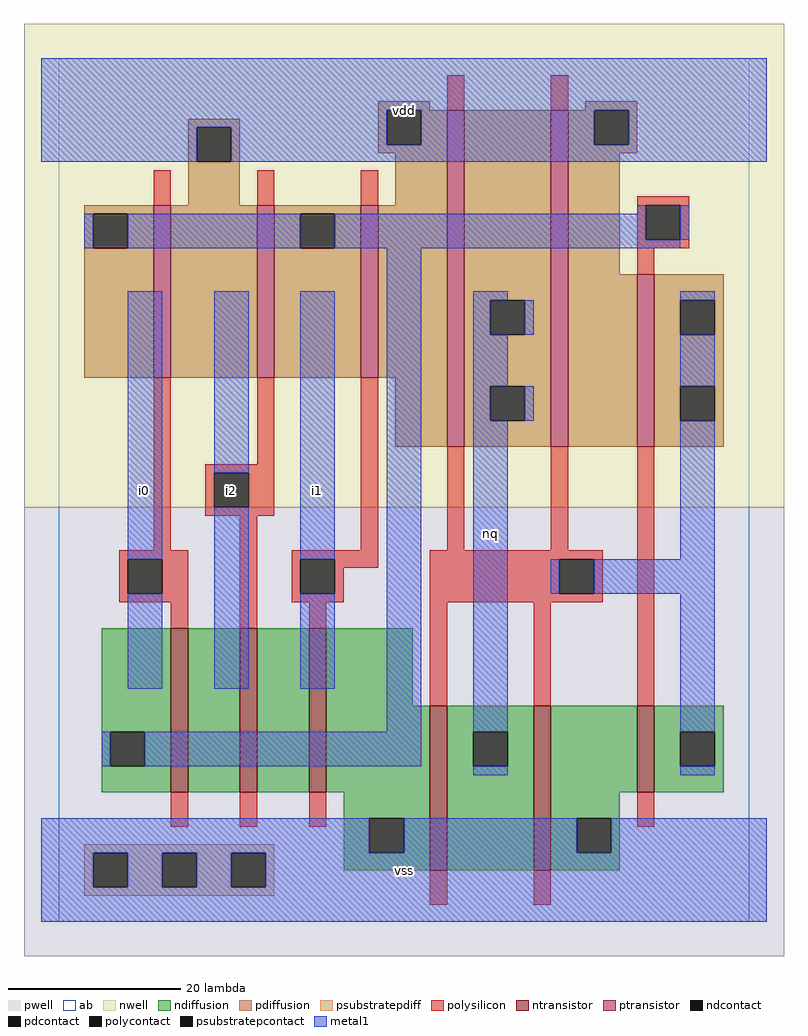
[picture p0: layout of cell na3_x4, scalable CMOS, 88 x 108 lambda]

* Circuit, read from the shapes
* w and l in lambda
.subckt na3_x4 i0 i1 i2 nq vdd vss
M1 n1 i0 n2 vss nfet w=19 l=2
M2 n3 i2 n1 vss nfet w=19 l=2
M3 vss i1 n3 vss nfet w=19 l=2
M4 nq n4 vss vss nfet w=19 l=2 m=2
M5 n4 n2 vss vss nfet w=10 l=2
M6 vdd i0 n2 n5 pfet w=20 l=2
M7 n2 i2 vdd n5 pfet w=20 l=2
M8 vdd i1 n2 n5 pfet w=20 l=2
M9 nq n4 vdd n5 pfet w=39 l=2 m=2
M10 n4 n2 vdd n5 pfet w=20 l=2
.ends

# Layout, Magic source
magic
tech scmos
<< ab >>
rect 0 0 80 100
<< pwell >>
rect -4 -4 84 48
<< nwell >>
rect -4 48 84 104
<< polysilicon >>
rect 45 94 47 98
rect 57 94 59 98
rect 11 83 13 87
rect 23 83 25 87
rect 35 83 37 87
rect 11 43 13 63
rect 23 53 25 63
rect 17 52 25 53
rect 17 48 18 52
rect 22 48 25 52
rect 17 47 25 48
rect 7 42 15 43
rect 7 38 8 42
rect 12 38 15 42
rect 7 37 15 38
rect 13 34 15 37
rect 21 34 23 47
rect 35 43 37 63
rect 67 83 73 84
rect 67 79 68 83
rect 72 79 73 83
rect 67 78 73 79
rect 67 75 69 78
rect 45 43 47 55
rect 57 43 59 55
rect 27 42 37 43
rect 27 38 28 42
rect 32 41 37 42
rect 43 42 63 43
rect 32 38 33 41
rect 27 37 33 38
rect 43 38 58 42
rect 62 38 63 42
rect 43 37 63 38
rect 29 34 31 37
rect 43 25 45 37
rect 55 25 57 37
rect 67 25 69 55
rect 13 11 15 15
rect 21 11 23 15
rect 29 11 31 15
rect 67 11 69 15
rect 43 2 45 6
rect 55 2 57 6
<< ndiffusion >>
rect 5 22 13 34
rect 5 18 6 22
rect 10 18 13 22
rect 5 15 13 18
rect 15 15 21 34
rect 23 15 29 34
rect 31 25 41 34
rect 31 15 43 25
rect 33 12 43 15
rect 33 8 36 12
rect 40 8 43 12
rect 33 6 43 8
rect 45 22 55 25
rect 45 18 48 22
rect 52 18 55 22
rect 45 6 55 18
rect 57 15 67 25
rect 69 22 77 25
rect 69 18 72 22
rect 76 18 77 22
rect 69 15 77 18
rect 57 12 65 15
rect 57 8 60 12
rect 64 8 65 12
rect 57 6 65 8
<< pdiffusion >>
rect 37 94 43 95
rect 61 94 67 95
rect 15 92 21 93
rect 15 88 16 92
rect 20 88 21 92
rect 37 90 38 94
rect 42 90 45 94
rect 37 89 45 90
rect 15 83 21 88
rect 39 83 45 89
rect 3 82 11 83
rect 3 78 4 82
rect 8 78 11 82
rect 3 63 11 78
rect 13 63 23 83
rect 25 82 35 83
rect 25 78 28 82
rect 32 78 35 82
rect 25 63 35 78
rect 37 63 45 83
rect 39 55 45 63
rect 47 72 57 94
rect 47 68 50 72
rect 54 68 57 72
rect 47 62 57 68
rect 47 58 50 62
rect 54 58 57 62
rect 47 55 57 58
rect 59 90 62 94
rect 66 90 67 94
rect 59 89 67 90
rect 59 75 65 89
rect 59 55 67 75
rect 69 72 77 75
rect 69 68 72 72
rect 76 68 77 72
rect 69 62 77 68
rect 69 58 72 62
rect 76 58 77 62
rect 69 55 77 58
<< metal1 >>
rect -2 94 82 100
rect -2 92 38 94
rect -2 88 16 92
rect 20 90 38 92
rect 42 90 62 94
rect 66 90 82 94
rect 20 88 82 90
rect 67 82 68 83
rect 3 78 4 82
rect 8 78 28 82
rect 32 79 68 82
rect 72 79 73 83
rect 32 78 72 79
rect 8 42 12 73
rect 8 27 12 38
rect 18 52 22 73
rect 18 27 22 48
rect 28 42 32 73
rect 28 27 32 38
rect 38 22 42 78
rect 5 18 6 22
rect 10 18 42 22
rect 48 72 52 73
rect 72 72 76 73
rect 48 68 50 72
rect 54 68 55 72
rect 48 62 52 68
rect 72 62 76 68
rect 48 58 50 62
rect 54 58 55 62
rect 48 22 52 58
rect 72 42 76 58
rect 57 38 58 42
rect 62 38 76 42
rect 48 17 52 18
rect 72 22 76 38
rect 72 17 76 18
rect -2 8 36 12
rect 40 8 60 12
rect 64 8 82 12
rect -2 4 4 8
rect 8 4 12 8
rect 16 4 20 8
rect 24 4 82 8
rect -2 0 82 4
<< ntransistor >>
rect 13 15 15 34
rect 21 15 23 34
rect 29 15 31 34
rect 43 6 45 25
rect 55 6 57 25
rect 67 15 69 25
<< ptransistor >>
rect 11 63 13 83
rect 23 63 25 83
rect 35 63 37 83
rect 45 55 47 94
rect 57 55 59 94
rect 67 55 69 75
<< polycontact >>
rect 18 48 22 52
rect 8 38 12 42
rect 68 79 72 83
rect 28 38 32 42
rect 58 38 62 42
<< ndcontact >>
rect 6 18 10 22
rect 36 8 40 12
rect 48 18 52 22
rect 72 18 76 22
rect 60 8 64 12
<< pdcontact >>
rect 16 88 20 92
rect 38 90 42 94
rect 4 78 8 82
rect 28 78 32 82
rect 50 68 54 72
rect 50 58 54 62
rect 62 90 66 94
rect 72 68 76 72
rect 72 58 76 62
<< psubstratepcontact >>
rect 4 4 8 8
rect 12 4 16 8
rect 20 4 24 8
<< psubstratepdiff >>
rect 3 8 25 9
rect 3 4 4 8
rect 8 4 12 8
rect 16 4 20 8
rect 24 4 25 8
rect 3 3 25 4
<< labels >>
rlabel metal1 10 50 10 50 6 i0
rlabel metal1 30 50 30 50 6 i1
rlabel polycontact 20 50 20 50 6 i2
rlabel metal1 40 6 40 6 6 vss
rlabel metal1 50 45 50 45 6 nq
rlabel metal1 40 94 40 94 6 vdd
<< end >>
